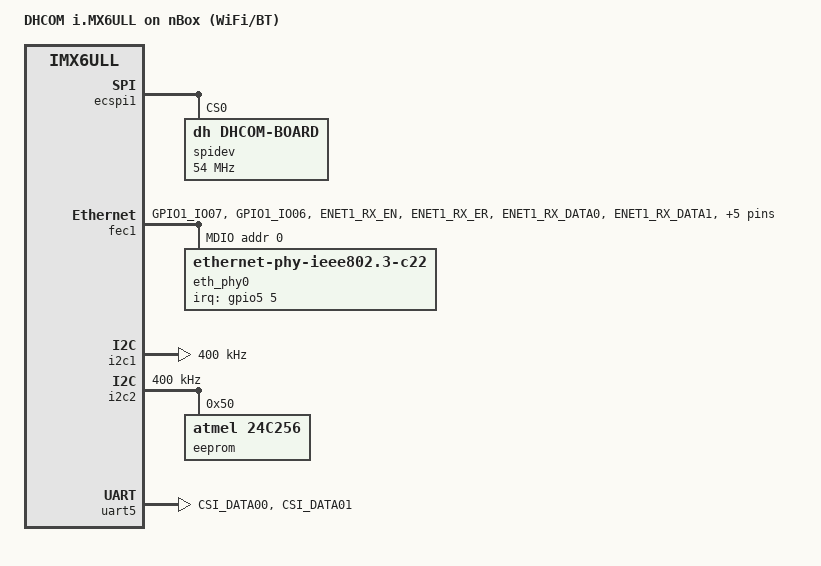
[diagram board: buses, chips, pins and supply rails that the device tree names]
// SPDX-License-Identifier: (GPL-2.0-or-later)
/*
 * Copyright (C) 2018 DH electronics GmbH
 */

/dts-v1/;

#include "imx6ull-dhcom.dtsi"
/* Special configurations */
//#include "imx6ull-dhcom-cfg-sdcard.dtsi"

/ {
	model = "DHCOM i.MX6ULL on nBox (WiFi/BT)";
	compatible = "dh,imx6ull-dhcom-nbox-wifi", "fsl,imx6ull";
};

#ifndef CFG_BOOTFLASH
&ecspi1 { /* DHCOM SPI1 */
	spidev@0 {
		compatible = "dh,dhcom-board";
		reg = <0>;
		spi-max-frequency = <54000000>;
		spi-cpha; /* Shifted clock phase (CPHA) mode */
		spi-cpol; /* Inverse clock polarity (CPOL) mode */
	};
};
#endif

/delete-node/ &eth_phy0;
&fec1 {
	pinctrl-names = "default";
	pinctrl-0 = <&pinctrl_enet1>;

	mdio {
		#address-cells = <1>;
		#size-cells = <0>;

		eth_phy0: ethernet-phy@0 { /* SMSC LAN8710Ai */
			pinctrl-names = "default";
			pinctrl-0 = <&pinctrl_snvs_eth_phy0>;
			compatible = "ethernet-phy-ieee802.3-c22";
			reg = <0>;
		/* TODO: If this is active SMSC phy isn't accessible
			reset-gpios = <&gpio3 23 GPIO_ACTIVE_LOW>;
			reset-assert-us = <1000>;
			reset-deassert-us = <10000>; */
			clocks = <&clks IMX6UL_CLK_ENET_REF>;
			clock-names = "rmii-ref";
			interrupt-parent = <&gpio5>;
			interrupts = <5 IRQ_TYPE_EDGE_FALLING>;
			smsc,disable-energy-detect; /* Make plugin detection reliable */
			max-speed = <100>;
			status = "okay";
		};
	};
};

&fec2 {
	status = "disabled";
};

&i2c1 { /* DHCOM I2C2 */
	clock-frequency = <400000>; /* Raise frequency up */
};

&i2c2 { /* DHCOM I2C1 */
	clock-frequency = <400000>; /* Raise frequency up */

	eeprom@50{
		compatible = "atmel,24c256";
		reg = <0x50>;
		pagesize = <64>;
	};
};

&uart5 {
	pinctrl-names = "default";
	pinctrl-0 = <&pinctrl_uart5>;
	status = "okay";
};

&iomuxc {
	pinctrl-names = "default";
	pinctrl-0 = <&pinctrl_hog_nbox>;

	pinctrl_hog_nbox: hog-nbox-grp {
		fsl,pins = <
			MX6UL_PAD_UART1_CTS_B__GPIO1_IO18	0x400120b0 /* GPIO I -> BT_REG_ON */
			MX6UL_PAD_CSI_HSYNC__GPIO4_IO20		0x400120b0 /* GPIO J */
			MX6UL_PAD_CSI_PIXCLK__GPIO4_IO18	0x400120b0 /* GPIO K */
			MX6UL_PAD_CSI_MCLK__GPIO4_IO17		0x400120b0 /* GPIO L */
			MX6UL_PAD_CSI_VSYNC__GPIO4_IO19		0x400120b0 /* GPIO M */
#ifndef CFG_BOOTFLASH
			MX6UL_PAD_CSI_DATA07__GPIO4_IO28	0x400120b0 /* GPIO N */
			MX6UL_PAD_CSI_DATA06__GPIO4_IO27	0x400120b0 /* GPIO O */
			MX6UL_PAD_CSI_DATA05__GPIO4_IO26	0x400120b0 /* GPIO P */
			MX6UL_PAD_CSI_DATA04__GPIO4_IO25	0x400120b0 /* GPIO Q */
#endif
			MX6UL_PAD_CSI_DATA03__GPIO4_IO24	0x400120b0 /* GPIO R */
			MX6UL_PAD_CSI_DATA02__GPIO4_IO23	0x400120b0 /* GPIO S */
			/* CSI_DATA00 is used for uart5 TX                    GPIO T */
			/* CSI_DATA01 is used for uart5 RX                    GPIO U */
			/* There isn't a pin defined                          GPIO V */
			/* There isn't a pin defined                          GPIO W */
			MX6UL_PAD_JTAG_TMS__GPIO1_IO11		0x400120b0 /* INT_HIGHEST_PRIORITY */
		>;
	};

	pinctrl_enet1: enet1-grp {
		fsl,pins = <
			MX6UL_PAD_GPIO1_IO07__ENET1_MDC		0x1b0b0
			MX6UL_PAD_GPIO1_IO06__ENET1_MDIO	0x1b0b0
			MX6UL_PAD_ENET1_RX_EN__ENET1_RX_EN	0x1b0b0
			MX6UL_PAD_ENET1_RX_ER__ENET1_RX_ER	0x1b0b0
			MX6UL_PAD_ENET1_RX_DATA0__ENET1_RDATA00	0x1b0b0
			MX6UL_PAD_ENET1_RX_DATA1__ENET1_RDATA01	0x1b0b0
			MX6UL_PAD_ENET1_TX_EN__ENET1_TX_EN	0x1b0b0
			MX6UL_PAD_ENET1_TX_DATA0__ENET1_TDATA00	0x1b0b0
			MX6UL_PAD_ENET1_TX_DATA1__ENET1_TDATA01	0x1b0b0
			MX6UL_PAD_ENET1_TX_CLK__ENET1_REF_CLK1	0x4001b031
			MX6UL_PAD_LCD_DATA18__GPIO3_IO23	0xb0 /* SMSC phy reset */
		>;
	};

	pinctrl_uart5: uart5-grp {
		fsl,pins = <
			MX6UL_PAD_CSI_DATA00__UART5_DCE_TX	0x1b0b1
			MX6UL_PAD_CSI_DATA01__UART5_DCE_RX	0x1b0b1
		>;
	};
};

&iomuxc_snvs {
	pinctrl-names = "default";
	pinctrl-0 = <&pinctrl_snvs_hog_nbox>;

	pinctrl_snvs_hog_nbox: snvs-hog-nbox-grp {
		fsl,pins = <
			MX6ULL_PAD_SNVS_TAMPER0__GPIO5_IO00	0x400120b0 /* GPIO A */
			MX6ULL_PAD_SNVS_TAMPER1__GPIO5_IO01	0x400120b0 /* GPIO B */
			MX6ULL_PAD_SNVS_TAMPER2__GPIO5_IO02	0x400120b0 /* GPIO C */
			MX6ULL_PAD_SNVS_TAMPER3__GPIO5_IO03	0x400120b0 /* GPIO D */
			MX6ULL_PAD_SNVS_TAMPER4__GPIO5_IO04	0x400120b0 /* GPIO E */
			MX6ULL_PAD_SNVS_TAMPER7__GPIO5_IO07	0x400120b0 /* GPIO F */
			MX6ULL_PAD_SNVS_TAMPER8__GPIO5_IO08	0x400120b0 /* GPIO G */
			MX6ULL_PAD_SNVS_TAMPER9__GPIO5_IO09	0x400120b0 /* GPIO H -> WL_REG_ON */
		>;
	};
};
